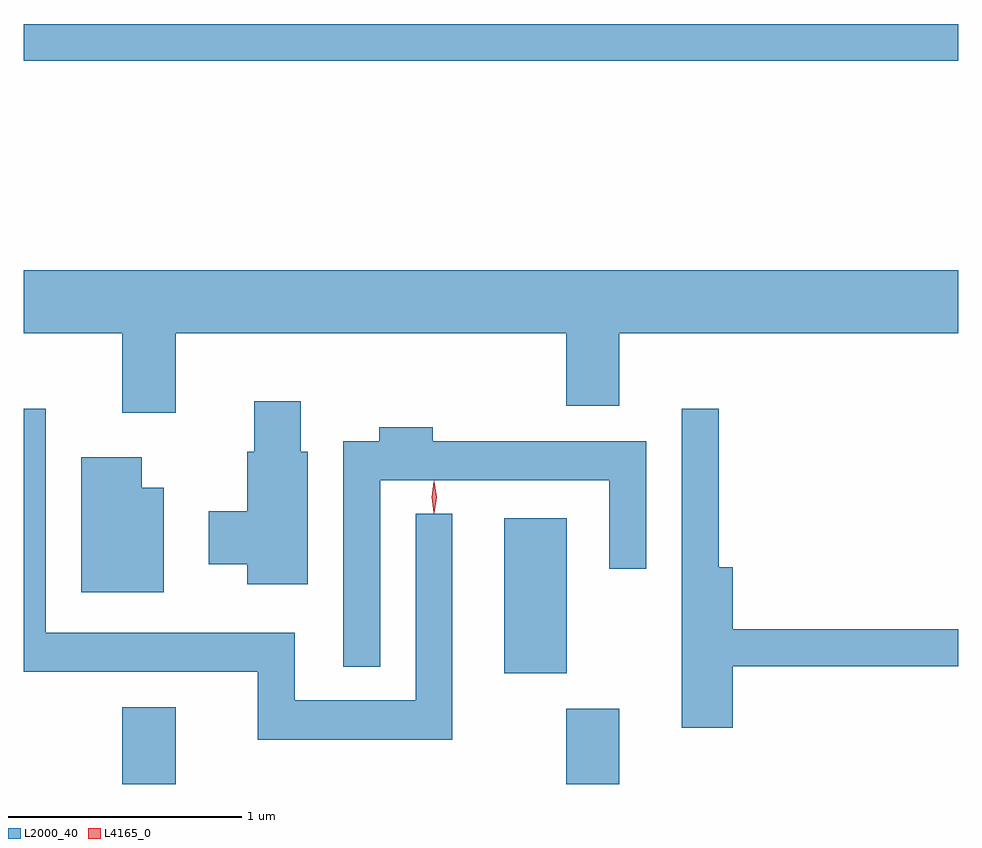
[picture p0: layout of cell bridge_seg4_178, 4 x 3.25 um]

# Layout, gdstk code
import gdstk
lib = gdstk.Library(unit=1e-6, precision=1e-09)
def R(c, l, rs):  # rectangles x0, y0, x1, y1
    for r in rs: c.add(gdstk.rectangle(r[:2], r[2:], *l))
def P(c, l, *ps):  # polygons
    for p in ps: c.add(gdstk.Polygon(p, *l))
L2000_40 = (2000, 40)
L4165_0 = (4165, 0)

bridge_seg4_178 = lib.new_cell('bridge_seg4_178')
R(bridge_seg4_178, L2000_40, [(1057.591,1306.126,1057.819,1306.454), (1059.491,1306.126,1059.719,1306.449), (1059.226,1306.601,1059.494,1307.264), (1057.169,1309.221,1061.169,1309.379)])
P(bridge_seg4_178, L2000_40, [(1057.819,1308.056),(1059.491,1308.056),(1059.491,1307.746),(1059.719,1307.746),(1059.719,1308.056),(1061.169,1308.056),(1061.169,1308.324),(1057.169,1308.324),(1057.169,1308.056),(1057.591,1308.056),(1057.591,1307.716),(1057.819,1307.716)],
  [(1058.384,1307.549),(1058.354,1307.549),(1058.354,1307.764),(1058.156,1307.764),(1058.156,1307.549),(1058.126,1307.549),(1058.126,1307.294),(1057.961,1307.294),(1057.961,1307.066),(1058.126,1307.066),(1058.126,1306.981),(1058.384,1306.981)],
  [(1060.204,1306.631),(1061.169,1306.631),(1061.169,1306.789),(1060.204,1306.789),(1060.204,1307.054),(1060.144,1307.054),(1060.144,1307.733),(1059.986,1307.733),(1059.986,1306.366),(1060.204,1306.366)],
  [(1059.004,1307.283),(1058.846,1307.283),(1058.846,1306.484),(1058.329,1306.484),(1058.329,1306.774),(1057.264,1306.774),(1057.264,1307.733),(1057.169,1307.733),(1057.169,1306.606),(1058.171,1306.606),(1058.171,1306.316),(1059.004,1306.316)],
  [(1058.694,1307.426),(1059.676,1307.426),(1059.676,1307.048),(1059.834,1307.048),(1059.834,1307.594),(1058.919,1307.594),(1058.919,1307.654),(1058.691,1307.654),(1058.691,1307.594),(1058.536,1307.594),(1058.536,1306.628),(1058.694,1306.628)],
  [(1057.769,1307.394),(1057.674,1307.394),(1057.674,1307.524),(1057.416,1307.524),(1057.416,1306.946),(1057.769,1306.946)])
P(bridge_seg4_178, L4165_0, [(1058.925,1307.284),(1058.916,1307.353),(1058.926,1307.422),(1058.926,1307.423),(1058.927,1307.422),(1058.936,1307.353),(1058.926,1307.284),(1058.926,1307.284)],
  [(1058.926,1307.287),(1058.925,1307.288),(1058.916,1307.354),(1058.925,1307.42),(1058.926,1307.421),(1058.926,1307.42),(1058.936,1307.354),(1058.926,1307.288)])

lib.write_gds('bridge_seg4_178.gds')
